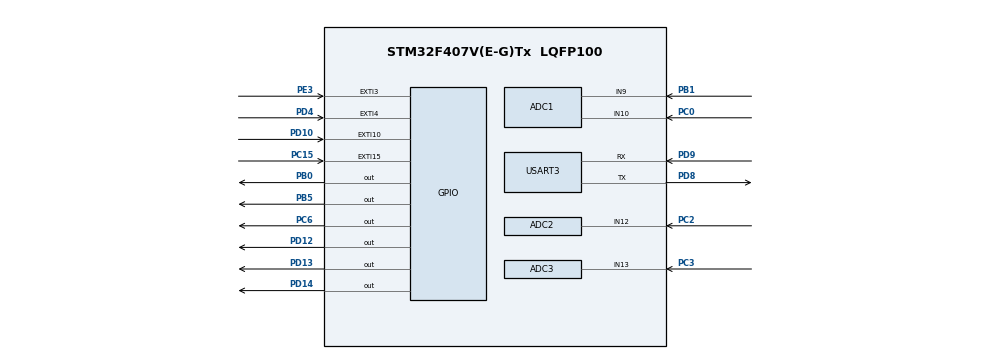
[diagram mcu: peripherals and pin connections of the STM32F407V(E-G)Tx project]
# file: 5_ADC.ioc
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ADC1.Channel-4\#ChannelRegularConversion=ADC_CHANNEL_9
ADC1.Channel-5\#ChannelRegularConversion=ADC_CHANNEL_10
ADC1.ContinuousConvMode=DISABLE
ADC1.DiscontinuousConvMode=ENABLE
ADC1.NbrOfConversion=2
ADC1.NbrOfConversionFlag=1
ADC1.Rank-4\#ChannelRegularConversion=1
ADC1.Rank-5\#ChannelRegularConversion=2
ADC1.SamplingTime-4\#ChannelRegularConversion=ADC_SAMPLETIME_15CYCLES
ADC1.SamplingTime-5\#ChannelRegularConversion=ADC_SAMPLETIME_15CYCLES
ADC1.ScanConvMode=ENABLE
ADC1.master=1
ADC2.Channel-0\#ChannelRegularConversion=ADC_CHANNEL_12
ADC2.DiscontinuousConvMode=ENABLE
ADC2.NbrOfConversionFlag=1
ADC2.Rank-0\#ChannelRegularConversion=1
ADC2.SamplingTime-0\#ChannelRegularConversion=ADC_SAMPLETIME_15CYCLES
ADC2.ScanConvMode=ENABLE
ADC3.Channel-2\#ChannelRegularConversion=ADC_CHANNEL_13
ADC3.ContinuousConvMode=ENABLE
ADC3.DMAContinuousRequests=ENABLE
ADC3.EOCSelection=ADC_EOC_SEQ_CONV
ADC3.NbrOfConversionFlag=1
ADC3.Rank-2\#ChannelRegularConversion=1
ADC3.SamplingTime-2\#ChannelRegularConversion=ADC_SAMPLETIME_15CYCLES
ADC3.ScanConvMode=ENABLE
Dma.ADC3.1.Direction=DMA_PERIPH_TO_MEMORY
Dma.ADC3.1.FIFOMode=DMA_FIFOMODE_DISABLE
Dma.ADC3.1.Instance=DMA2_Stream0
Dma.ADC3.1.MemDataAlignment=DMA_MDATAALIGN_HALFWORD
Dma.ADC3.1.MemInc=DMA_MINC_ENABLE
Dma.ADC3.1.Mode=DMA_CIRCULAR
Dma.ADC3.1.PeriphDataAlignment=DMA_PDATAALIGN_HALFWORD
Dma.ADC3.1.PeriphInc=DMA_PINC_DISABLE
Dma.ADC3.1.Priority=DMA_PRIORITY_LOW
Dma.Request0=USART3_RX
Dma.Request1=ADC3
Dma.USART3_RX.0.Direction=DMA_PERIPH_TO_MEMORY
Dma.USART3_RX.0.FIFOMode=DMA_FIFOMODE_DISABLE
Dma.USART3_RX.0.Instance=DMA1_Stream1
Dma.USART3_RX.0.MemDataAlignment=DMA_MDATAALIGN_BYTE
Dma.USART3_RX.0.MemInc=DMA_MINC_ENABLE
Dma.USART3_RX.0.Mode=DMA_NORMAL
Dma.USART3_RX.0.PeriphDataAlignment=DMA_PDATAALIGN_BYTE
Dma.USART3_RX.0.PeriphInc=DMA_PINC_DISABLE
Dma.USART3_RX.0.Priority=DMA_PRIORITY_LOW
Mcu.Family=STM32F4
Mcu.Name=STM32F407V(E-G)Tx
Mcu.Package=LQFP100
NVIC.ADC_IRQn=true\:0\:0\:false\:false\:true\:true\:true\:true
NVIC.DMA1_Stream1_IRQn=true\:0\:0\:false\:false\:true\:false\:true\:true
NVIC.DMA2_Stream0_IRQn=true\:0\:0\:false\:false\:true\:false\:true\:true
NVIC.EXTI15_10_IRQn=true\:0\:0\:false\:false\:true\:true\:true\:true
NVIC.EXTI3_IRQn=true\:0\:0\:false\:false\:true\:true\:true\:true
NVIC.EXTI4_IRQn=true\:0\:0\:false\:false\:true\:true\:true\:true
NVIC.PriorityGroup=NVIC_PRIORITYGROUP_4
NVIC.TIM2_IRQn=true\:0\:0\:false\:false\:true\:true\:true\:true
NVIC.TIM7_IRQn=true\:0\:0\:false\:false\:true\:true\:true\:true
NVIC.USART3_IRQn=true\:0\:0\:false\:false\:true\:true\:true\:true
PB0.PinState=GPIO_PIN_SET
PB0.Signal=GPIO_Output
PB1.Signal=ADCx_IN9
PB5.PinState=GPIO_PIN_SET
PB5.Signal=GPIO_Output
PC0.Signal=ADCx_IN10
PC15-OSC32_OUT.Signal=GPXTI15
PC2.Signal=ADCx_IN12
PC3.Signal=ADCx_IN13
PC6.PinState=GPIO_PIN_SET
PC6.Signal=GPIO_Output
PD10.Signal=GPXTI10
PD12.PinState=GPIO_PIN_SET
PD12.Signal=GPIO_Output
PD13.PinState=GPIO_PIN_SET
PD13.Signal=GPIO_Output
PD14.PinState=GPIO_PIN_SET
PD14.Signal=GPIO_Output
PD4.Signal=GPXTI4
PD8.Mode=Asynchronous
PD8.Signal=USART3_TX
PD9.Mode=Asynchronous
PD9.Signal=USART3_RX
PE3.Signal=GPXTI3
PH0-OSC_IN.Mode=HSE-External-Oscillator
PH0-OSC_IN.Signal=RCC_OSC_IN
PH1-OSC_OUT.Mode=HSE-External-Oscillator
PH1-OSC_OUT.Signal=RCC_OSC_OUT
ProjectManager.HeapSize=0x200
ProjectManager.StackSize=0x400
ProjectManager.TargetToolchain=CMake
RCC.48MHZClocksFreq_Value=84000000
RCC.AHBFreq_Value=168000000
RCC.APB1CLKDivider=RCC_HCLK_DIV4
RCC.APB1Freq_Value=42000000
RCC.APB1TimFreq_Value=84000000
RCC.APB2CLKDivider=RCC_HCLK_DIV2
RCC.APB2Freq_Value=84000000
RCC.APB2TimFreq_Value=168000000
RCC.CortexFreq_Value=168000000
RCC.HCLKFreq_Value=168000000
RCC.HSE_VALUE=8000000
RCC.HSI_VALUE=16000000
RCC.LSE_VALUE=32768
RCC.PLLM=4
RCC.PLLN=168
RCC.PLLSourceVirtual=RCC_PLLSOURCE_HSE
RCC.SYSCLKFreq_VALUE=168000000
RCC.SYSCLKSource=RCC_SYSCLKSOURCE_PLLCLK
RCC.VCOOutputFreq_Value=336000000
SH.ADCx_IN10.0=ADC1_IN10,IN10
SH.ADCx_IN12.0=ADC2_IN12,IN12
SH.ADCx_IN13.0=ADC3_IN13,IN13
SH.ADCx_IN9.0=ADC1_IN9,IN9
TIM2.Period=83999
TIM7.AutoReloadPreload=TIM_AUTORELOAD_PRELOAD_DISABLE
TIM7.Period=9999
TIM7.Prescaler=839
USART3.VirtualMode=VM_ASYNC
VP_TIM2_VS_ClockSourceINT.Mode=Internal
VP_TIM7_VS_ClockSourceINT.Mode=Enable_Timer
board=custom

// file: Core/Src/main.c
/* USER CODE BEGIN Header */
/**
 ******************************************************************************
 * @file           : main.c
 * @brief          : Main program body
 ******************************************************************************
 * @attention
 *
 * Copyright (c) 2024 STMicroelectronics.
 * All rights reserved.
 *
 * This software is licensed under terms that can be found in the LICENSE file
 * in the root directory of this software component.
 * If no LICENSE file comes with this software, it is provided AS-IS.
 *
 ******************************************************************************
 */
/* USER CODE END Header */
#include "main.h"

/* USER CODE BEGIN Includes */
#include <stdio.h>
/* USER CODE END Includes */

/* USER CODE BEGIN PV */
uint16_t adc_val_ch9 = 0;
uint16_t adc_val_ch10 = 0;
uint16_t adc_val_ch12 = 0;
uint16_t adc_val_ch13 = 0;

uint8_t dma_tc_flag = 0;
uint16_t adc3_val[1];
/* USER CODE END PV */

void SystemClock_Config(void);
static void MX_GPIO_Init(void);
static void MX_DMA_Init(void);
static void MX_USART3_UART_Init(void);
static void MX_TIM7_Init(void);
static void MX_TIM2_Init(void);
static void MX_ADC1_Init(void);
static void MX_ADC2_Init(void);
static void MX_ADC3_Init(void);
/* USER CODE BEGIN PFP */
int __io_putchar(int ch) {
  while (!LL_USART_IsActiveFlag_TXE(USART3));
  LL_USART_TransmitData8(USART3, ch);
  return ch;
}

//= ADC single conversion interrupt code
void ADC_EOCCallback(void) {
  adc_val_ch12 = LL_ADC_REG_ReadConversionData12(ADC2);
  LL_ADC_REG_StartConversionSWStart(ADC2);
  LL_ADC_ClearFlag_EOCS(ADC2);
}
/* USER CODE END PFP */

int main(void) {

  /* MCU Configuration--------------------------------------------------------*/

  /* Reset of all peripherals, Initializes the Flash interface and the Systick.
   */
  LL_APB2_GRP1_EnableClock(LL_APB2_GRP1_PERIPH_SYSCFG);
  LL_APB1_GRP1_EnableClock(LL_APB1_GRP1_PERIPH_PWR);

  /* System interrupt init*/
  NVIC_SetPriorityGrouping(NVIC_PRIORITYGROUP_4);

  /* SysTick_IRQn interrupt configuration */
  NVIC_SetPriority(SysTick_IRQn,
                   NVIC_EncodePriority(NVIC_GetPriorityGrouping(), 15, 0));

  /* Configure the system clock */
  SystemClock_Config();

  /* Initialize all configured peripherals */
  MX_GPIO_Init();
  MX_DMA_Init();
  MX_USART3_UART_Init();
  MX_TIM7_Init();
  MX_TIM2_Init();
  MX_ADC1_Init();
  MX_ADC2_Init();
  MX_ADC3_Init();
  /* USER CODE BEGIN 2 */
  //= ADC single conversion polling code
  LL_ADC_Enable(ADC1);

  //= ADC single conversion interrupt code
  LL_ADC_EnableIT_EOCS(ADC2);
  LL_ADC_Enable(ADC2);
  LL_ADC_REG_StartConversionSWStart(ADC2);

  //= ADC use to DMA code
  LL_DMA_ConfigAddresses(
      DMA2, LL_DMA_STREAM_0,
      LL_ADC_DMA_GetRegAddr(ADC3, LL_ADC_DMA_REG_REGULAR_DATA),
      (uint32_t)adc3_val, LL_DMA_DIRECTION_PERIPH_TO_MEMORY);

  LL_DMA_SetDataLength(DMA2, LL_DMA_STREAM_0, 1);
  LL_DMA_EnableIT_TC(DMA2, LL_DMA_STREAM_0);
  LL_DMA_EnableStream(DMA2, LL_DMA_STREAM_0);
  LL_ADC_Enable(ADC3);
  LL_ADC_REG_StartConversionSWStart(ADC3);
  /* USER CODE END 2 */

  /* Infinite loop */
  /* USER CODE BEGIN WHILE */
  while (1) {
    //= ADC single conversion polling code
    //= => No interrupt, No continuous conversion mode
    //= read ch9 value
    LL_ADC_REG_StartConversionSWStart(ADC1);
    while (!LL_ADC_IsActiveFlag_EOCS(ADC1));
    LL_ADC_ClearFlag_EOCS(ADC1);
    adc_val_ch9 = LL_ADC_REG_ReadConversionData12(ADC1);

    //= read ch10 value
    LL_ADC_REG_StartConversionSWStart(ADC1);
    while (!LL_ADC_IsActiveFlag_EOCS(ADC1));
    LL_ADC_ClearFlag_EOCS(ADC1);
    adc_val_ch10 = LL_ADC_REG_ReadConversionData12(ADC1);

    //= ADC use to DMA code
    //= => continuous conversion mode, DMA continuous mode
    if (dma_tc_flag) {
      printf("CH9: %d, CH10: %d, CH12: %d, CH13: %d\r\n", adc_val_ch9,
             adc_val_ch10, adc_val_ch12, adc3_val[0]);

      dma_tc_flag = 0;
    }

    LL_mDelay(500);
    /* USER CODE END WHILE */

  }
}

void SystemClock_Config(void) {
  LL_FLASH_SetLatency(LL_FLASH_LATENCY_5);
  while (LL_FLASH_GetLatency() != LL_FLASH_LATENCY_5) {
  }
  LL_PWR_SetRegulVoltageScaling(LL_PWR_REGU_VOLTAGE_SCALE1);
  LL_RCC_HSE_Enable();

  /* Wait till HSE is ready */
  while (LL_RCC_HSE_IsReady() != 1) {
  }
  LL_RCC_PLL_ConfigDomain_SYS(LL_RCC_PLLSOURCE_HSE, LL_RCC_PLLM_DIV_4, 168,
                              LL_RCC_PLLP_DIV_2);
  LL_RCC_PLL_Enable();

  /* Wait till PLL is ready */
  while (LL_RCC_PLL_IsReady() != 1) {
  }
  while (LL_PWR_IsActiveFlag_VOS() == 0) {
  }
  LL_RCC_SetAHBPrescaler(LL_RCC_SYSCLK_DIV_1);
  LL_RCC_SetAPB1Prescaler(LL_RCC_APB1_DIV_4);
  LL_RCC_SetAPB2Prescaler(LL_RCC_APB2_DIV_2);
  LL_RCC_SetSysClkSource(LL_RCC_SYS_CLKSOURCE_PLL);

  /* Wait till System clock is ready */
  while (LL_RCC_GetSysClkSource() != LL_RCC_SYS_CLKSOURCE_STATUS_PLL) {
  }
  LL_Init1msTick(168000000);
  LL_SetSystemCoreClock(168000000);
}

static void MX_ADC1_Init(void) {

  LL_ADC_InitTypeDef ADC_InitStruct = {0};
  LL_ADC_REG_InitTypeDef ADC_REG_InitStruct = {0};
  LL_ADC_CommonInitTypeDef ADC_CommonInitStruct = {0};

  LL_GPIO_InitTypeDef GPIO_InitStruct = {0};

  /* Peripheral clock enable */
  LL_APB2_GRP1_EnableClock(LL_APB2_GRP1_PERIPH_ADC1);

  LL_AHB1_GRP1_EnableClock(LL_AHB1_GRP1_PERIPH_GPIOC);
  LL_AHB1_GRP1_EnableClock(LL_AHB1_GRP1_PERIPH_GPIOB);
  /**ADC1 GPIO Configuration
  PC0   ------> ADC1_IN10
  PB1   ------> ADC1_IN9
  */
  GPIO_InitStruct.Pin = LL_GPIO_PIN_0;
  GPIO_InitStruct.Mode = LL_GPIO_MODE_ANALOG;
  GPIO_InitStruct.Pull = LL_GPIO_PULL_NO;
  LL_GPIO_Init(GPIOC, &GPIO_InitStruct);

  GPIO_InitStruct.Pin = LL_GPIO_PIN_1;
  GPIO_InitStruct.Mode = LL_GPIO_MODE_ANALOG;
  GPIO_InitStruct.Pull = LL_GPIO_PULL_NO;
  LL_GPIO_Init(GPIOB, &GPIO_InitStruct);

  /* ADC1 interrupt Init */
  NVIC_SetPriority(ADC_IRQn,
                   NVIC_EncodePriority(NVIC_GetPriorityGrouping(), 0, 0));
  NVIC_EnableIRQ(ADC_IRQn);

  /** Common config
   */
  ADC_InitStruct.Resolution = LL_ADC_RESOLUTION_12B;
  ADC_InitStruct.DataAlignment = LL_ADC_DATA_ALIGN_RIGHT;
  ADC_InitStruct.SequencersScanMode = LL_ADC_SEQ_SCAN_ENABLE;
  LL_ADC_Init(ADC1, &ADC_InitStruct);
  ADC_REG_InitStruct.TriggerSource = LL_ADC_REG_TRIG_SOFTWARE;
  ADC_REG_InitStruct.SequencerLength = LL_ADC_REG_SEQ_SCAN_ENABLE_2RANKS;
  ADC_REG_InitStruct.SequencerDiscont = LL_ADC_REG_SEQ_DISCONT_1RANK;
  ADC_REG_InitStruct.ContinuousMode = LL_ADC_REG_CONV_SINGLE;
  ADC_REG_InitStruct.DMATransfer = LL_ADC_REG_DMA_TRANSFER_NONE;
  LL_ADC_REG_Init(ADC1, &ADC_REG_InitStruct);
  LL_ADC_REG_SetFlagEndOfConversion(ADC1, LL_ADC_REG_FLAG_EOC_UNITARY_CONV);
  ADC_CommonInitStruct.CommonClock = LL_ADC_CLOCK_SYNC_PCLK_DIV4;
  ADC_CommonInitStruct.Multimode = LL_ADC_MULTI_INDEPENDENT;
  LL_ADC_CommonInit(__LL_ADC_COMMON_INSTANCE(ADC1), &ADC_CommonInitStruct);

  /** Configure Regular Channel
   */
  LL_ADC_REG_SetSequencerRanks(ADC1, LL_ADC_REG_RANK_1, LL_ADC_CHANNEL_9);
  LL_ADC_SetChannelSamplingTime(ADC1, LL_ADC_CHANNEL_9,
                                LL_ADC_SAMPLINGTIME_15CYCLES);

  /** Configure Regular Channel
   */
  LL_ADC_REG_SetSequencerRanks(ADC1, LL_ADC_REG_RANK_2, LL_ADC_CHANNEL_10);
  LL_ADC_SetChannelSamplingTime(ADC1, LL_ADC_CHANNEL_10,
                                LL_ADC_SAMPLINGTIME_15CYCLES);
}

static void MX_ADC2_Init(void) {

  LL_ADC_InitTypeDef ADC_InitStruct = {0};
  LL_ADC_REG_InitTypeDef ADC_REG_InitStruct = {0};

  LL_GPIO_InitTypeDef GPIO_InitStruct = {0};

  /* Peripheral clock enable */
  LL_APB2_GRP1_EnableClock(LL_APB2_GRP1_PERIPH_ADC2);

  LL_AHB1_GRP1_EnableClock(LL_AHB1_GRP1_PERIPH_GPIOC);
  /**ADC2 GPIO Configuration
  PC2   ------> ADC2_IN12
  */
  GPIO_InitStruct.Pin = LL_GPIO_PIN_2;
  GPIO_InitStruct.Mode = LL_GPIO_MODE_ANALOG;
  GPIO_InitStruct.Pull = LL_GPIO_PULL_NO;
  LL_GPIO_Init(GPIOC, &GPIO_InitStruct);

  /* ADC2 interrupt Init */
  NVIC_SetPriority(ADC_IRQn,
                   NVIC_EncodePriority(NVIC_GetPriorityGrouping(), 0, 0));
  NVIC_EnableIRQ(ADC_IRQn);

  /** Common config
   */
  ADC_InitStruct.Resolution = LL_ADC_RESOLUTION_12B;
  ADC_InitStruct.DataAlignment = LL_ADC_DATA_ALIGN_RIGHT;
  ADC_InitStruct.SequencersScanMode = LL_ADC_SEQ_SCAN_ENABLE;
  LL_ADC_Init(ADC2, &ADC_InitStruct);
  ADC_REG_InitStruct.TriggerSource = LL_ADC_REG_TRIG_SOFTWARE;
  ADC_REG_InitStruct.SequencerLength = LL_ADC_REG_SEQ_SCAN_DISABLE;
  ADC_REG_InitStruct.SequencerDiscont = LL_ADC_REG_SEQ_DISCONT_1RANK;
  ADC_REG_InitStruct.ContinuousMode = LL_ADC_REG_CONV_SINGLE;
  ADC_REG_InitStruct.DMATransfer = LL_ADC_REG_DMA_TRANSFER_NONE;
  LL_ADC_REG_Init(ADC2, &ADC_REG_InitStruct);
  LL_ADC_REG_SetFlagEndOfConversion(ADC2, LL_ADC_REG_FLAG_EOC_UNITARY_CONV);

  /** Configure Regular Channel
   */
  LL_ADC_REG_SetSequencerRanks(ADC2, LL_ADC_REG_RANK_1, LL_ADC_CHANNEL_12);
  LL_ADC_SetChannelSamplingTime(ADC2, LL_ADC_CHANNEL_12,
                                LL_ADC_SAMPLINGTIME_15CYCLES);
}

static void MX_ADC3_Init(void) {

  LL_ADC_InitTypeDef ADC_InitStruct = {0};
  LL_ADC_REG_InitTypeDef ADC_REG_InitStruct = {0};

  LL_GPIO_InitTypeDef GPIO_InitStruct = {0};

  /* Peripheral clock enable */
  LL_APB2_GRP1_EnableClock(LL_APB2_GRP1_PERIPH_ADC3);

  LL_AHB1_GRP1_EnableClock(LL_AHB1_GRP1_PERIPH_GPIOC);
  /**ADC3 GPIO Configuration
  PC3   ------> ADC3_IN13
  */
  GPIO_InitStruct.Pin = LL_GPIO_PIN_3;
  GPIO_InitStruct.Mode = LL_GPIO_MODE_ANALOG;
  GPIO_InitStruct.Pull = LL_GPIO_PULL_NO;
  LL_GPIO_Init(GPIOC, &GPIO_InitStruct);

  /* ADC3 DMA Init */

  /* ADC3 Init */
  LL_DMA_SetChannelSelection(DMA2, LL_DMA_STREAM_0, LL_DMA_CHANNEL_2);

  LL_DMA_SetDataTransferDirection(DMA2, LL_DMA_STREAM_0,
                                  LL_DMA_DIRECTION_PERIPH_TO_MEMORY);

  LL_DMA_SetStreamPriorityLevel(DMA2, LL_DMA_STREAM_0, LL_DMA_PRIORITY_LOW);

  LL_DMA_SetMode(DMA2, LL_DMA_STREAM_0, LL_DMA_MODE_CIRCULAR);

  LL_DMA_SetPeriphIncMode(DMA2, LL_DMA_STREAM_0, LL_DMA_PERIPH_NOINCREMENT);

  LL_DMA_SetMemoryIncMode(DMA2, LL_DMA_STREAM_0, LL_DMA_MEMORY_INCREMENT);

  LL_DMA_SetPeriphSize(DMA2, LL_DMA_STREAM_0, LL_DMA_PDATAALIGN_HALFWORD);

  LL_DMA_SetMemorySize(DMA2, LL_DMA_STREAM_0, LL_DMA_MDATAALIGN_HALFWORD);

  LL_DMA_DisableFifoMode(DMA2, LL_DMA_STREAM_0);

  /* ADC3 interrupt Init */
  NVIC_SetPriority(ADC_IRQn,
                   NVIC_EncodePriority(NVIC_GetPriorityGrouping(), 0, 0));
  NVIC_EnableIRQ(ADC_IRQn);

  /** Common config
   */
  ADC_InitStruct.Resolution = LL_ADC_RESOLUTION_12B;
  ADC_InitStruct.DataAlignment = LL_ADC_DATA_ALIGN_RIGHT;
  ADC_InitStruct.SequencersScanMode = LL_ADC_SEQ_SCAN_ENABLE;
  LL_ADC_Init(ADC3, &ADC_InitStruct);
  ADC_REG_InitStruct.TriggerSource = LL_ADC_REG_TRIG_SOFTWARE;
  ADC_REG_InitStruct.SequencerLength = LL_ADC_REG_SEQ_SCAN_DISABLE;
  ADC_REG_InitStruct.SequencerDiscont = LL_ADC_REG_SEQ_DISCONT_DISABLE;
  ADC_REG_InitStruct.ContinuousMode = LL_ADC_REG_CONV_CONTINUOUS;
  ADC_REG_InitStruct.DMATransfer = LL_ADC_REG_DMA_TRANSFER_UNLIMITED;
  LL_ADC_REG_Init(ADC3, &ADC_REG_InitStruct);
  LL_ADC_REG_SetFlagEndOfConversion(ADC3, LL_ADC_REG_FLAG_EOC_SEQUENCE_CONV);

  /** Configure Regular Channel
   */
  LL_ADC_REG_SetSequencerRanks(ADC3, LL_ADC_REG_RANK_1, LL_ADC_CHANNEL_13);
  LL_ADC_SetChannelSamplingTime(ADC3, LL_ADC_CHANNEL_13,
                                LL_ADC_SAMPLINGTIME_15CYCLES);
}

static void MX_TIM2_Init(void) {

  LL_TIM_InitTypeDef TIM_InitStruct = {0};

  /* Peripheral clock enable */
  LL_APB1_GRP1_EnableClock(LL_APB1_GRP1_PERIPH_TIM2);

  /* TIM2 interrupt Init */
  NVIC_SetPriority(TIM2_IRQn,
                   NVIC_EncodePriority(NVIC_GetPriorityGrouping(), 0, 0));
  NVIC_EnableIRQ(TIM2_IRQn);

  TIM_InitStruct.Prescaler = 0;
  TIM_InitStruct.CounterMode = LL_TIM_COUNTERMODE_UP;
  TIM_InitStruct.Autoreload = 83999;
  TIM_InitStruct.ClockDivision = LL_TIM_CLOCKDIVISION_DIV1;
  LL_TIM_Init(TIM2, &TIM_InitStruct);
  LL_TIM_DisableARRPreload(TIM2);
  LL_TIM_SetClockSource(TIM2, LL_TIM_CLOCKSOURCE_INTERNAL);
  LL_TIM_SetTriggerOutput(TIM2, LL_TIM_TRGO_RESET);
  LL_TIM_DisableMasterSlaveMode(TIM2);
}

static void MX_TIM7_Init(void) {

  LL_TIM_InitTypeDef TIM_InitStruct = {0};

  /* Peripheral clock enable */
  LL_APB1_GRP1_EnableClock(LL_APB1_GRP1_PERIPH_TIM7);

  /* TIM7 interrupt Init */
  NVIC_SetPriority(TIM7_IRQn,
                   NVIC_EncodePriority(NVIC_GetPriorityGrouping(), 0, 0));
  NVIC_EnableIRQ(TIM7_IRQn);

  TIM_InitStruct.Prescaler = 839;
  TIM_InitStruct.CounterMode = LL_TIM_COUNTERMODE_UP;
  TIM_InitStruct.Autoreload = 9999;
  LL_TIM_Init(TIM7, &TIM_InitStruct);
  LL_TIM_DisableARRPreload(TIM7);
  LL_TIM_SetTriggerOutput(TIM7, LL_TIM_TRGO_RESET);
  LL_TIM_DisableMasterSlaveMode(TIM7);
}

static void MX_USART3_UART_Init(void) {

  LL_USART_InitTypeDef USART_InitStruct = {0};

  LL_GPIO_InitTypeDef GPIO_InitStruct = {0};

  /* Peripheral clock enable */
  LL_APB1_GRP1_EnableClock(LL_APB1_GRP1_PERIPH_USART3);

  LL_AHB1_GRP1_EnableClock(LL_AHB1_GRP1_PERIPH_GPIOD);
  /**USART3 GPIO Configuration
  PD8   ------> USART3_TX
  PD9   ------> USART3_RX
  */
  GPIO_InitStruct.Pin = LL_GPIO_PIN_8 | LL_GPIO_PIN_9;
  GPIO_InitStruct.Mode = LL_GPIO_MODE_ALTERNATE;
  GPIO_InitStruct.Speed = LL_GPIO_SPEED_FREQ_VERY_HIGH;
  GPIO_InitStruct.OutputType = LL_GPIO_OUTPUT_PUSHPULL;
  GPIO_InitStruct.Pull = LL_GPIO_PULL_NO;
  GPIO_InitStruct.Alternate = LL_GPIO_AF_7;
  LL_GPIO_Init(GPIOD, &GPIO_InitStruct);

  /* USART3 DMA Init */

  /* USART3_RX Init */
  LL_DMA_SetChannelSelection(DMA1, LL_DMA_STREAM_1, LL_DMA_CHANNEL_4);

  LL_DMA_SetDataTransferDirection(DMA1, LL_DMA_STREAM_1,
                                  LL_DMA_DIRECTION_PERIPH_TO_MEMORY);

  LL_DMA_SetStreamPriorityLevel(DMA1, LL_DMA_STREAM_1, LL_DMA_PRIORITY_LOW);

  LL_DMA_SetMode(DMA1, LL_DMA_STREAM_1, LL_DMA_MODE_NORMAL);

  LL_DMA_SetPeriphIncMode(DMA1, LL_DMA_STREAM_1, LL_DMA_PERIPH_NOINCREMENT);

  LL_DMA_SetMemoryIncMode(DMA1, LL_DMA_STREAM_1, LL_DMA_MEMORY_INCREMENT);

  LL_DMA_SetPeriphSize(DMA1, LL_DMA_STREAM_1, LL_DMA_PDATAALIGN_BYTE);

  LL_DMA_SetMemorySize(DMA1, LL_DMA_STREAM_1, LL_DMA_MDATAALIGN_BYTE);

  LL_DMA_DisableFifoMode(DMA1, LL_DMA_STREAM_1);

  /* USART3 interrupt Init */
  NVIC_SetPriority(USART3_IRQn,
                   NVIC_EncodePriority(NVIC_GetPriorityGrouping(), 0, 0));
  NVIC_EnableIRQ(USART3_IRQn);

  USART_InitStruct.BaudRate = 115200;
  USART_InitStruct.DataWidth = LL_USART_DATAWIDTH_8B;
  USART_InitStruct.StopBits = LL_USART_STOPBITS_1;
  USART_InitStruct.Parity = LL_USART_PARITY_NONE;
  USART_InitStruct.TransferDirection = LL_USART_DIRECTION_TX_RX;
  USART_InitStruct.HardwareFlowControl = LL_USART_HWCONTROL_NONE;
  USART_InitStruct.OverSampling = LL_USART_OVERSAMPLING_16;
  LL_USART_Init(USART3, &USART_InitStruct);
  LL_USART_ConfigAsyncMode(USART3);
  LL_USART_Enable(USART3);
}

static void MX_DMA_Init(void) {
  /* Init with LL driver */
  /* DMA controller clock enable */
  LL_AHB1_GRP1_EnableClock(LL_AHB1_GRP1_PERIPH_DMA1);
  LL_AHB1_GRP1_EnableClock(LL_AHB1_GRP1_PERIPH_DMA2);

  /* DMA interrupt init */
  /* DMA1_Stream1_IRQn interrupt configuration */
  NVIC_SetPriority(DMA1_Stream1_IRQn,
                   NVIC_EncodePriority(NVIC_GetPriorityGrouping(), 0, 0));
  NVIC_EnableIRQ(DMA1_Stream1_IRQn);
  /* DMA2_Stream0_IRQn interrupt configuration */
  NVIC_SetPriority(DMA2_Stream0_IRQn,
                   NVIC_EncodePriority(NVIC_GetPriorityGrouping(), 0, 0));
  NVIC_EnableIRQ(DMA2_Stream0_IRQn);
}

static void MX_GPIO_Init(void) {
  LL_EXTI_InitTypeDef EXTI_InitStruct = {0};
  LL_GPIO_InitTypeDef GPIO_InitStruct = {0};

  /* GPIO Ports Clock Enable */
  LL_AHB1_GRP1_EnableClock(LL_AHB1_GRP1_PERIPH_GPIOE);
  LL_AHB1_GRP1_EnableClock(LL_AHB1_GRP1_PERIPH_GPIOC);
  LL_AHB1_GRP1_EnableClock(LL_AHB1_GRP1_PERIPH_GPIOH);
  LL_AHB1_GRP1_EnableClock(LL_AHB1_GRP1_PERIPH_GPIOB);
  LL_AHB1_GRP1_EnableClock(LL_AHB1_GRP1_PERIPH_GPIOD);

  /**/
  LL_GPIO_SetOutputPin(GPIOB, LL_GPIO_PIN_0 | LL_GPIO_PIN_5);

  /**/
  LL_GPIO_SetOutputPin(GPIOD, LL_GPIO_PIN_12 | LL_GPIO_PIN_13 | LL_GPIO_PIN_14);

  /**/
  LL_GPIO_SetOutputPin(GPIOC, LL_GPIO_PIN_6);

  /**/
  LL_SYSCFG_SetEXTISource(LL_SYSCFG_EXTI_PORTE, LL_SYSCFG_EXTI_LINE3);

  /**/
  LL_SYSCFG_SetEXTISource(LL_SYSCFG_EXTI_PORTC, LL_SYSCFG_EXTI_LINE15);

  /**/
  LL_SYSCFG_SetEXTISource(LL_SYSCFG_EXTI_PORTD, LL_SYSCFG_EXTI_LINE10);

  /**/
  LL_SYSCFG_SetEXTISource(LL_SYSCFG_EXTI_PORTD, LL_SYSCFG_EXTI_LINE4);

  /**/
  EXTI_InitStruct.Line_0_31 = LL_EXTI_LINE_3;
  EXTI_InitStruct.LineCommand = ENABLE;
  EXTI_InitStruct.Mode = LL_EXTI_MODE_IT;
  EXTI_InitStruct.Trigger = LL_EXTI_TRIGGER_RISING;
  LL_EXTI_Init(&EXTI_InitStruct);

  /**/
  EXTI_InitStruct.Line_0_31 = LL_EXTI_LINE_15;
  EXTI_InitStruct.LineCommand = ENABLE;
  EXTI_InitStruct.Mode = LL_EXTI_MODE_IT;
  EXTI_InitStruct.Trigger = LL_EXTI_TRIGGER_RISING;
  LL_EXTI_Init(&EXTI_InitStruct);

  /**/
  EXTI_InitStruct.Line_0_31 = LL_EXTI_LINE_10;
  EXTI_InitStruct.LineCommand = ENABLE;
  EXTI_InitStruct.Mode = LL_EXTI_MODE_IT;
  EXTI_InitStruct.Trigger = LL_EXTI_TRIGGER_RISING;
  LL_EXTI_Init(&EXTI_InitStruct);

  /**/
  EXTI_InitStruct.Line_0_31 = LL_EXTI_LINE_4;
  EXTI_InitStruct.LineCommand = ENABLE;
  EXTI_InitStruct.Mode = LL_EXTI_MODE_IT;
  EXTI_InitStruct.Trigger = LL_EXTI_TRIGGER_RISING;
  LL_EXTI_Init(&EXTI_InitStruct);

  /**/
  LL_GPIO_SetPinPull(GPIOE, LL_GPIO_PIN_3, LL_GPIO_PULL_NO);

  /**/
  LL_GPIO_SetPinPull(GPIOC, LL_GPIO_PIN_15, LL_GPIO_PULL_NO);

  /**/
  LL_GPIO_SetPinPull(GPIOD, LL_GPIO_PIN_10, LL_GPIO_PULL_NO);

  /**/
  LL_GPIO_SetPinPull(GPIOD, LL_GPIO_PIN_4, LL_GPIO_PULL_NO);

  /**/
  LL_GPIO_SetPinMode(GPIOE, LL_GPIO_PIN_3, LL_GPIO_MODE_INPUT);

  /**/
  LL_GPIO_SetPinMode(GPIOC, LL_GPIO_PIN_15, LL_GPIO_MODE_INPUT);

  /**/
  LL_GPIO_SetPinMode(GPIOD, LL_GPIO_PIN_10, LL_GPIO_MODE_INPUT);

  /**/
  LL_GPIO_SetPinMode(GPIOD, LL_GPIO_PIN_4, LL_GPIO_MODE_INPUT);

  /**/
  GPIO_InitStruct.Pin = LL_GPIO_PIN_0 | LL_GPIO_PIN_5;
  GPIO_InitStruct.Mode = LL_GPIO_MODE_OUTPUT;
  GPIO_InitStruct.Speed = LL_GPIO_SPEED_FREQ_LOW;
  GPIO_InitStruct.OutputType = LL_GPIO_OUTPUT_PUSHPULL;
  GPIO_InitStruct.Pull = LL_GPIO_PULL_NO;
  LL_GPIO_Init(GPIOB, &GPIO_InitStruct);

  /**/
  GPIO_InitStruct.Pin = LL_GPIO_PIN_12 | LL_GPIO_PIN_13 | LL_GPIO_PIN_14;
  GPIO_InitStruct.Mode = LL_GPIO_MODE_OUTPUT;
  GPIO_InitStruct.Speed = LL_GPIO_SPEED_FREQ_LOW;
  GPIO_InitStruct.OutputType = LL_GPIO_OUTPUT_PUSHPULL;
  GPIO_InitStruct.Pull = LL_GPIO_PULL_NO;
  LL_GPIO_Init(GPIOD, &GPIO_InitStruct);

  /**/
  GPIO_InitStruct.Pin = LL_GPIO_PIN_6;
  GPIO_InitStruct.Mode = LL_GPIO_MODE_OUTPUT;
  GPIO_InitStruct.Speed = LL_GPIO_SPEED_FREQ_LOW;
  GPIO_InitStruct.OutputType = LL_GPIO_OUTPUT_PUSHPULL;
  GPIO_InitStruct.Pull = LL_GPIO_PULL_NO;
  LL_GPIO_Init(GPIOC, &GPIO_InitStruct);

  /* EXTI interrupt init*/
  NVIC_SetPriority(EXTI3_IRQn,
                   NVIC_EncodePriority(NVIC_GetPriorityGrouping(), 0, 0));
  NVIC_EnableIRQ(EXTI3_IRQn);
  NVIC_SetPriority(EXTI4_IRQn,
                   NVIC_EncodePriority(NVIC_GetPriorityGrouping(), 0, 0));
  NVIC_EnableIRQ(EXTI4_IRQn);
  NVIC_SetPriority(EXTI15_10_IRQn,
                   NVIC_EncodePriority(NVIC_GetPriorityGrouping(), 0, 0));
  NVIC_EnableIRQ(EXTI15_10_IRQn);

}

void Error_Handler(void) {
  __disable_irq();
  while (1) {
  }
}

#ifdef USE_FULL_ASSERT
/**
 * @brief  Reports the name of the source file and the source line number
 *         where the assert_param error has occurred.
 * @param  file: pointer to the source file name
 * @param  line: assert_param error line source number
 * @retval None
 */
void assert_failed(uint8_t *file, uint32_t line) {
  /* USER CODE BEGIN 6 */
  /* User can add his own implementation to report the file name and line
     number, ex: printf("Wrong parameters value: file %s on line %d\r\n", file,
     line) */
  /* USER CODE END 6 */
}
#endif /* USE_FULL_ASSERT */
